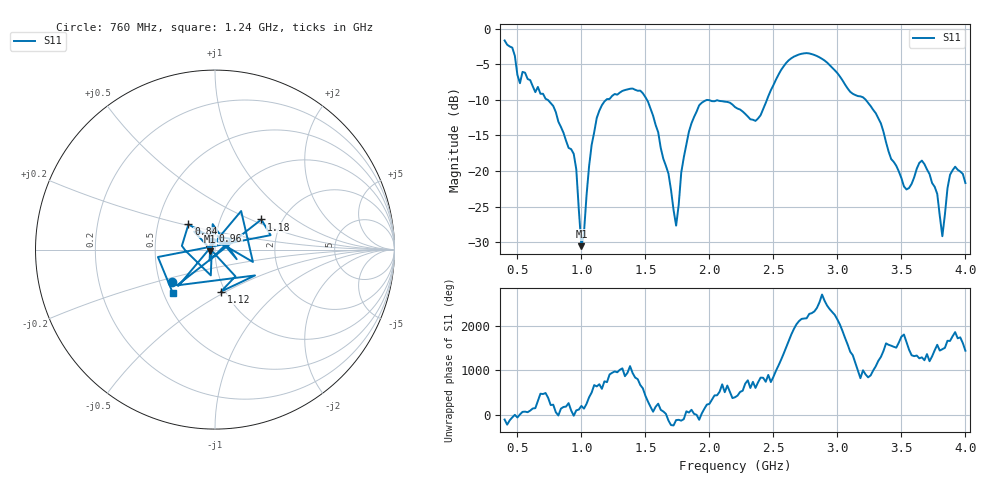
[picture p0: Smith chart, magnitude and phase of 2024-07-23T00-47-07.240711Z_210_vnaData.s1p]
!Created with skrf (http://scikit-rf.org).
# Hz S RI R 50.0
!freq ReS11 ImS11
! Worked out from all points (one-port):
!   181 points, 400 MHz to 4 GHz, reference 50 ohm
!   lowest |S11| = -30.5 dB at 1 GHz (marker M1), VSWR 1.06, Z = 47.2 - j0.867 ohm
!   |S11| at or under -10 dB: 735.7 MHz to 1.194 GHz (458.1 MHz wide, 47.5 % of centre); 1.512 GHz to 2.449 GHz (937.2 MHz wide, 47.3 % of centre); 3.222 GHz to end of sweep
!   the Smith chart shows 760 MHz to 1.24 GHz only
!   S11 on the Smith chart (normalised r, x): 760 MHz: 0.58, -0.23; 840 MHz: 0.72, +0.21; 960 MHz: 0.96, +0.20; 1.12 GHz: 0.95, -0.47; 1.18 GHz: 1.57, +0.58; 1.24 GHz: 0.56, -0.30
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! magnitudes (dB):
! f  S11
! 400 MHz  -1.7
! 520 MHz  -7.7
! 760 MHz  -10.5
! 840 MHz  -13.8
! 860 MHz  -14.6
! 960 MHz  -19.8
! 1 GHz  -30.5
! 1.12 GHz  -12.5
! 1.18 GHz  -10.2
! 1.24 GHz  -9.5
! 1.3 GHz  -9.0
! 1.52 GHz  -10.2
! 1.68 GHz  -20.3
! 1.74 GHz  -27.7
! 1.76 GHz  -24.8
! 1.84 GHz  -14.5
! 1.92 GHz  -10.8
! 2.2 GHz  -11.0
! 2.36 GHz  -13.0
! 2.66 GHz  -3.9
! 3.1 GHz  -8.9
! 3.3 GHz  -11.9
! 3.56 GHz  -22.4
! 3.68 GHz  -19.0
! 3.78 GHz  -23.2
! 3.82 GHz  -29.1
! 3.88 GHz  -20.5
! 4 GHz  -21.7
